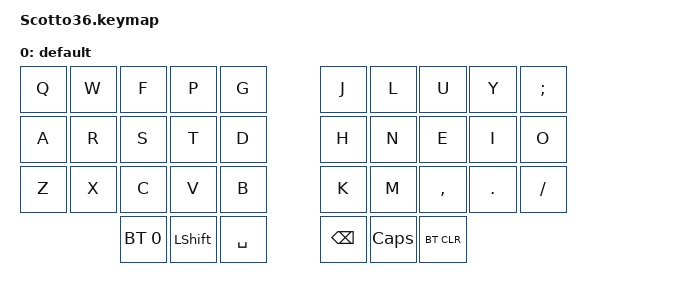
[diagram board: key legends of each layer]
#include "keys_it.h"
#include <behaviors.dtsi>
#include <dt-bindings/zmk/bt.h>
#include <dt-bindings/zmk/keys.h>

/ {
    keymap {
        compatible = "zmk,keymap";

        default {
            bindings = <
&kp Q  &kp W  &kp F         &kp P           &kp G      &kp J          &kp L         &kp U       &kp Y       &kp SEMICOLON
&kp A  &kp R  &kp S         &kp T           &kp D      &kp H          &kp N         &kp E       &kp I       &kp O
&kp Z  &kp X  &kp C         &kp V           &kp B      &kp K          &kp M         &kp COMMA   &kp PERIOD  &kp SLASH
              &bt BT_SEL 0  &kp LEFT_SHIFT  &kp SPACE  &kp BACKSPACE  &kp CAPSLOCK  &bt BT_CLR
            >;
        };
    };
};
